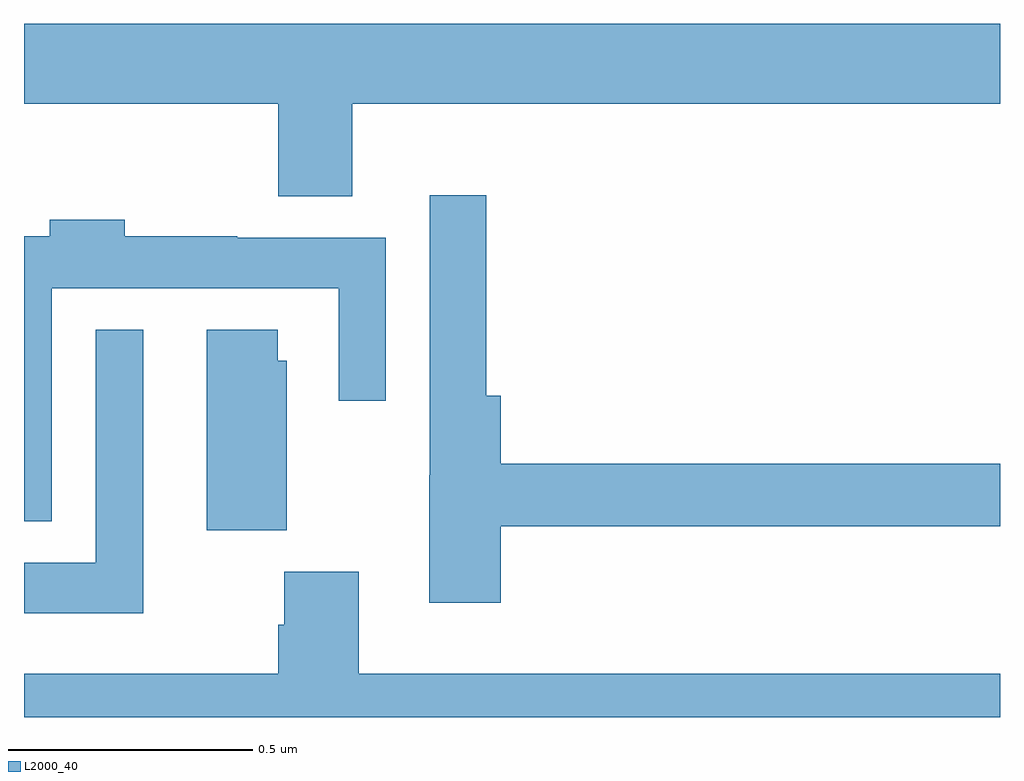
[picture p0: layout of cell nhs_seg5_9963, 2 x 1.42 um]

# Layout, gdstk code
import gdstk
lib = gdstk.Library(unit=1e-6, precision=1e-09)
def P(c, l, *ps):  # polygons
    for p in ps: c.add(gdstk.Polygon(p, *l))
L2000_40 = (2000, 40)

nhs_seg5_9963 = lib.new_cell('nhs_seg5_9963')
P(nhs_seg5_9963, L2000_40, [(240.673,894.056),(242,894.056),(242,894.22),(240,894.22),(240,894.056),(240.521,894.056),(240.521,893.867),(240.673,893.867)],
  [(240.977,893.19),(242,893.19),(242,893.318),(240.977,893.318),(240.977,893.458),(240.947,893.458),(240.947,893.869),(240.831,893.869),(240.831,893.295),(240.83,893.295),(240.83,893.034),(240.977,893.034)],
  [(240.057,893.678),(240.645,893.678),(240.645,893.448),(240.741,893.448),(240.741,893.782),(240.437,893.782),(240.437,893.785),(240.206,893.785),(240.206,893.818),(240.053,893.818),(240.053,893.785),(240,893.785),(240,893.201),(240.057,893.201)],
  [(240.244,893.593),(240.147,893.593),(240.147,893.116),(240,893.116),(240,893.012),(240.244,893.012)],
  [(240.538,893.529),(240.52,893.529),(240.52,893.593),(240.374,893.593),(240.374,893.182),(240.538,893.182)],
  [(242,892.888),(240.686,892.888),(240.686,893.097),(240.533,893.097),(240.533,892.988),(240.521,892.988),(240.521,892.888),(240,892.888),(240,892.799),(242,892.799)])

lib.write_gds('nhs_seg5_9963.gds')
